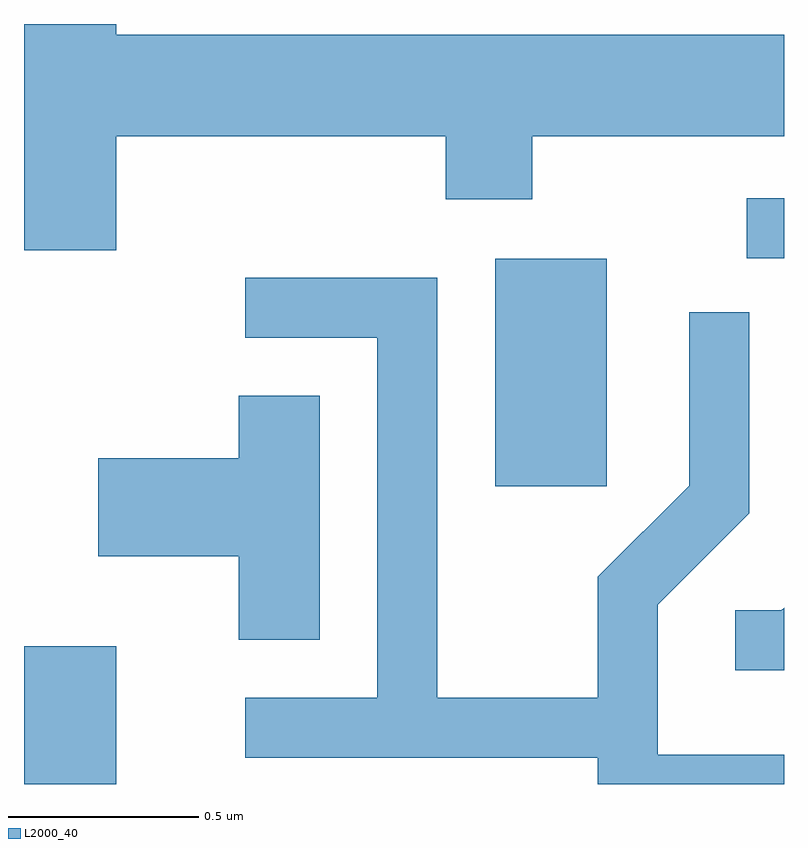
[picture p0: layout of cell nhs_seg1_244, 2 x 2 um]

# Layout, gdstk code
import gdstk
lib = gdstk.Library(unit=1e-6, precision=1e-09)
def R(c, l, rs):  # rectangles x0, y0, x1, y1
    for r in rs: c.add(gdstk.rectangle(r[:2], r[2:], *l))
def P(c, l, *ps):  # polygons
    for p in ps: c.add(gdstk.Polygon(p, *l))
L2000_40 = (2000, 40)

nhs_seg1_244 = lib.new_cell('nhs_seg1_244')
R(nhs_seg1_244, L2000_40, [(186.611,946.712,186.854,947.074), (187.851,947.496,188.144,948.094), (188.513,948.096,188.611,948.254)])
P(nhs_seg1_244, L2000_40, [(186.854,948.416),(187.721,948.416),(187.721,948.251),(187.949,948.251),(187.949,948.416),(188.611,948.416),(188.611,948.684),(186.854,948.684),(186.854,948.712),(186.611,948.712),(186.611,948.116),(186.854,948.116)],
  [(188.611,946.789),(188.279,946.789),(188.279,947.184),(188.519,947.424),(188.519,947.953),(188.361,947.953),(188.361,947.497),(188.121,947.257),(188.121,946.939),(187.699,946.939),(187.699,948.044),(187.193,948.044),(187.193,947.886),(187.541,947.886),(187.541,946.939),(187.193,946.939),(187.193,946.781),(188.121,946.781),(188.121,946.712),(188.611,946.712)],
  [(187.389,947.734),(187.176,947.734),(187.176,947.569),(186.806,947.569),(186.806,947.311),(187.176,947.311),(187.176,947.091),(187.389,947.091)],
  [(188.611,947.176),(188.604,947.169),(188.483,947.169),(188.483,947.011),(188.611,947.011)])

lib.write_gds('nhs_seg1_244.gds')
